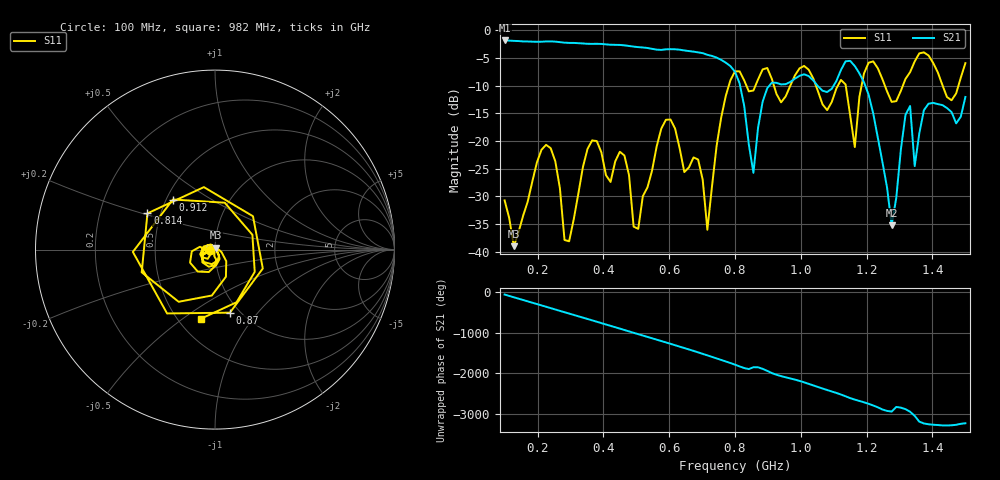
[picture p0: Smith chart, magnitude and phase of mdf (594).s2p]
! NanoVNA-App
! Date: 2025-09-25 15:43:02
! Start: 100MHz Stop: 1,5GHz Points: 101
! S-Parameter data: F S11 S21 S12 S22
# Hz S RI R 50
!  Frequency  S11_Real  S11_Imag  S21_Real  S21_Imag  S12_Real  S12_Imag  S22_Real  S22_Imag
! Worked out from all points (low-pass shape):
!   101 points, 100 MHz to 1.5 GHz, reference 50 ohm
!   highest |S21| = -1.80 dB at 100 MHz (marker M1); lowest = -35.2 dB at 1.276 GHz (marker M2)
!   |S21| within 3 dB of the highest: start of sweep to 739.4 MHz
!   lowest |S11| = -39.0 dB at 128 MHz (marker M3), VSWR 1.02, Z = 50.3 + j1.08 ohm
!   |S11| at or under -10 dB: start of sweep to 781.1 MHz; 1.046 GHz to 1.112 GHz (66.43 MHz wide, 6.16 % of centre); 1.256 GHz to 1.31 GHz (54.36 MHz wide, 4.24 % of centre) (the widest 3 of 7)
!   S12 and S22 are empty: the file has one direction only
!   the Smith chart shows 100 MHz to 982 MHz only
!   S11 on the Smith chart (normalised r, x): 100 MHz: 0.94, -0.01; 814 MHz: 0.42, +0.21; 870 MHz: 0.90, -0.73; 912 MHz: 0.54, +0.35; 982 MHz: 0.65, -0.59
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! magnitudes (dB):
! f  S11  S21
! 100 MHz  -30.7  -1.8
! 128 MHz  -39.0  -1.9
! 212 MHz  -21.6  -2.0
! 282 MHz  -37.9  -2.2
! 338 MHz  -24.7  -2.3
! 464 MHz  -22.6  -2.7
! 506 MHz  -35.9  -3.0
! 576 MHz  -17.8  -3.5
! 716 MHz  -36.0  -4.4
! 800 MHz  -7.4  -7.5
! 814 MHz  -7.4  -9.6
! 856 MHz  -10.9  -25.7
! 870 MHz  -8.8  -17.6
! 912 MHz  -8.8  -9.4
! 982 MHz  -8.1  -8.7
! 1.038 GHz  -8.7  -9.1
! 1.164 GHz  -21.1  -6.4
! 1.178 GHz  -12.0  -7.8
! 1.276 GHz  -12.9  -35.2
! 1.332 GHz  -7.5  -13.7
! 1.346 GHz  -5.6  -24.5
! 1.5 GHz  -5.9  -12.0
